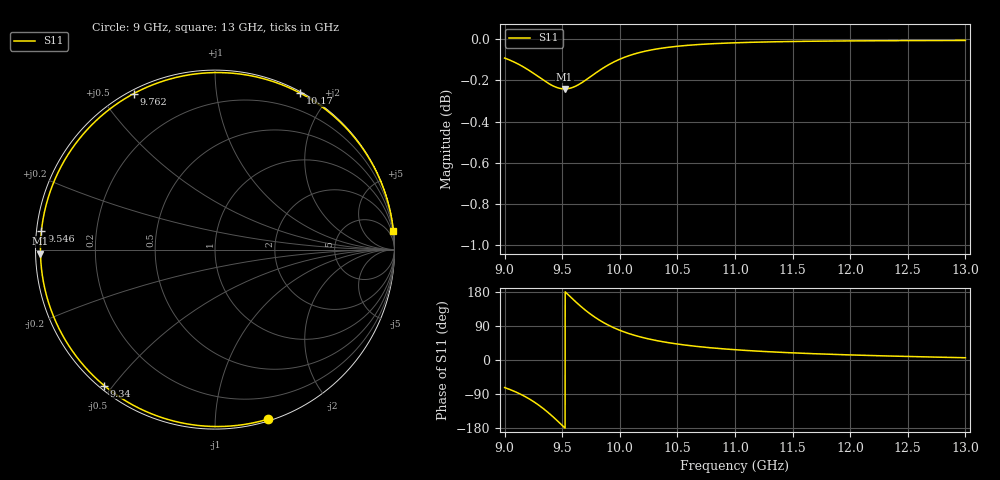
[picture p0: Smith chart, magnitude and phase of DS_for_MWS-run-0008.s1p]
! TOUCHSTONE file generated by CST DESIGN STUDIO
! Date and time: Tue Feb  4 15:56:20 2025
! Project name: C:\Work\MatlabApps\UnitCellOptimizationMatlab\CST\unitcell.cst
! Tree item: Tasks\Sweep1\SPara1\S-Parameters
! Header version: 2024
! Port assignment regex: !\s*Touchstone port\s*([0-9]+)\s*=\s*(CST MWS port|CST DES external port|CST DES block port)\s*(.+)\s* \(\"(.*)\"\)(\s*mode\s*([0-9]+))?.*
! Touchstone port assignment:
! Touchstone port 1 = CST DES external port 1 ("")
# GHz S MA R 50
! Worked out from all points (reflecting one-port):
!   4001 points, 9 GHz to 13 GHz, reference 50 ohm
!   lowest |S11| = -0.2 dB at 9.521 GHz (marker M1), VSWR 72.06, Z = 0.694 - j0.566 ohm
!   phase of S11 starts at -73 deg and turns -281 deg over the sweep
!   S11 on the Smith chart (normalised r, x): 9 GHz: 0.01, -1.36; 9.34 GHz: 0.01, -0.48; 9.546 GHz: 0.01, +0.05; 9.762 GHz: 0.01, +0.61; 10.17 GHz: 0.01, +1.68; 13 GHz: 0, +19
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9  0.9896 -72.7
9.093  0.9871 -83.8
9.199  0.9833 -100.0
9.273  0.9802 -114.2
9.34  0.9773 -129.2
9.384  0.9755 -140.2
9.429  0.974 -152.3
9.5  0.9727 -172.6
9.521  0.9726 -178.7
9.546  0.9727 174.0
9.6  0.9737 158.4
9.66  0.9756 142.0
9.711  0.9778 129.1
9.762  0.98 117.5
9.812  0.9823 107.3
9.866  0.9845 97.6
9.933  0.9869 87.2
10  0.9889 78.4
10.083  0.991 69.3
10.172  0.9926 61.4
10.321  0.9946 51.1
10.5  0.9961 42.1
10.722  0.9972 34.2
11  0.9981 27.1
11.5  0.9988 18.9
12  0.9991 13.4
12.5  0.9993 9.3
13  0.9994 6.0
